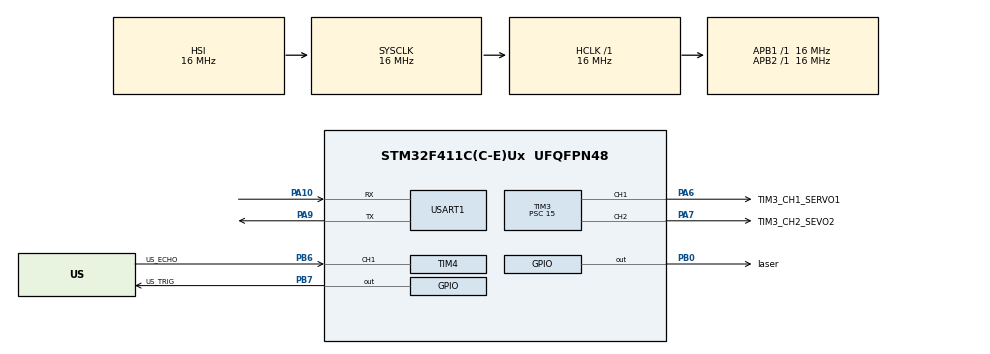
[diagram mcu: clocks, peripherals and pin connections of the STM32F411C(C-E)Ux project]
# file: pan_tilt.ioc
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Mcu.Family=STM32F4
Mcu.Name=STM32F411C(C-E)Ux
Mcu.Package=UFQFPN48
NVIC.PriorityGroup=NVIC_PRIORITYGROUP_4
NVIC.TIM4_IRQn=true\:0\:0\:false\:false\:true\:true\:true\:true
NVIC.USART1_IRQn=true\:0\:0\:false\:false\:true\:true\:true\:true
PA10.Mode=Asynchronous
PA10.Signal=USART1_RX
PA6.GPIO_Label=TIM3_CH1_SERVO1
PA6.Signal=S_TIM3_CH1
PA7.GPIO_Label=TIM3_CH2_SEVO2
PA7.Signal=S_TIM3_CH2
PA9.Mode=Asynchronous
PA9.Signal=USART1_TX
PB0.GPIO_Label=laser
PB0.Signal=GPIO_Output
PB6.GPIO_Label=US_ECHO
PB6.Signal=S_TIM4_CH1
PB7.GPIO_Label=US_TRIG
PB7.Signal=GPIO_Output
ProjectManager.HeapSize=0x200
ProjectManager.StackSize=0x400
ProjectManager.TargetToolchain=Makefile
RCC.48MHZClocksFreq_Value=48000000
RCC.AHBFreq_Value=16000000
RCC.APB1Freq_Value=16000000
RCC.APB1TimFreq_Value=16000000
RCC.APB2Freq_Value=16000000
RCC.APB2TimFreq_Value=16000000
RCC.CortexFreq_Value=16000000
RCC.HCLKFreq_Value=16000000
RCC.HSE_VALUE=25000000
RCC.HSI_VALUE=16000000
RCC.LSE_VALUE=32768
RCC.SYSCLKFreq_VALUE=16000000
RCC.VCOOutputFreq_Value=192000000
SH.S_TIM3_CH1.0=TIM3_CH1,PWM Generation1 CH1
SH.S_TIM3_CH2.0=TIM3_CH2,PWM Generation2 CH2
SH.S_TIM4_CH1.0=TIM4_CH1,Input_Capture1_from_TI1
TIM3.AutoReloadPreload=TIM_AUTORELOAD_PRELOAD_ENABLE
TIM3.Channel-PWM\ Generation1\ CH1=TIM_CHANNEL_1
TIM3.Channel-PWM\ Generation2\ CH2=TIM_CHANNEL_2
TIM3.Period=19999
TIM3.Prescaler=15
TIM3.Pulse-PWM\ Generation1\ CH1=1500
TIM3.Pulse-PWM\ Generation2\ CH2=1500
TIM4.AutoReloadPreload=TIM_AUTORELOAD_PRELOAD_ENABLE
TIM4.Channel-Input_Capture1_from_TI1=TIM_CHANNEL_1
TIM4.Prescaler=15
USART1.VirtualMode=VM_ASYNC
VP_TIM3_VS_ClockSourceINT.Mode=Internal
VP_TIM4_VS_ClockSourceINT.Mode=Internal
board=custom

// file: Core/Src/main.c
/* USER CODE BEGIN Header */
/**
  ******************************************************************************
  * @file           : main.c
  * @brief          : Main program body
  ******************************************************************************
  * @attention
  *
  * Copyright (c) 2026 STMicroelectronics.
  * All rights reserved.
  *
  * This software is licensed under terms that can be found in the LICENSE file
  * in the root directory of this software component.
  * If no LICENSE file comes with this software, it is provided AS-IS.
  *
  ******************************************************************************
  */
/* USER CODE END Header */
#include "main.h"

/* USER CODE BEGIN Includes */
#include <string.h>   /* strcmp() for command matching */
#include "ultrasonic.h"
#include "comms.h"
#include <stdio.h>   /* snprintf for telemetry formatting */
#include "laser.h"
/* USER CODE END Includes */

TIM_HandleTypeDef htim3;
TIM_HandleTypeDef htim4;

UART_HandleTypeDef huart1;

/* USER CODE BEGIN PV */

/* Tick value captured at boot -- left over from the blink experiment, not
   used by anything now. Safe to delete, or keep it for an uptime reading. */
static uint32_t start_time = 0;

/* Landing zone for the UART receiver. The HAL writes the incoming byte here
   from inside the interrupt, so main() must only read it while `received`
   says a complete byte is sitting there. */
uint8_t rx[1];

/* Longest command we will accept, including the terminating '\0'.
   Anything longer is discarded rather than allowed to run off the end of the
   buffer -- an unterminated line is the classic way these parsers corrupt
   memory. */
#define CMD_MAX 64

/* The line being assembled, byte by byte, by the RX interrupt. Once a
   terminator arrives this holds a complete, NUL-terminated command string. */
volatile char cmd_line[CMD_MAX];

/* Write position within cmd_line. Only ever touched by the ISR. */
static uint8_t cmd_idx = 0;

/* Raised by the ISR when cmd_line holds a complete command; cleared by the
   main loop once it has finished reading it. While this is set the ISR
   DISCARDS incoming bytes -- that is what stops the interrupt overwriting a
   line the main loop is still working on.
   `volatile` is REQUIRED: without it the optimiser sees main() only reading
   this and never writing it, decides it cannot change, and hoists the read
   out of the while(1). Works at -Og, hangs at -O2. */
volatile uint8_t cmd_ready = 0;

/* USER CODE END PV */

void SystemClock_Config(void);
static void MX_GPIO_Init(void);
static void MX_TIM3_Init(void);
static void MX_TIM4_Init(void);
static void MX_USART1_UART_Init(void);

int main(void)
{

  /* USER CODE BEGIN 1 */
  start_time = HAL_GetTick();
  /* USER CODE END 1 */

  /* MCU Configuration--------------------------------------------------------*/

  /* Reset of all peripherals, Initializes the Flash interface and the Systick. */
  HAL_Init();

  /* Configure the system clock */
  SystemClock_Config();

  /* Initialize all configured peripherals */
  MX_GPIO_Init();
  MX_TIM3_Init();
  MX_TIM4_Init();
  MX_USART1_UART_Init();
  /* USER CODE BEGIN 2 */

  /* Arm the receiver for exactly 1 byte. This is a ONE-SHOT: once that byte
     lands the HAL disarms itself, so the callback below has to re-arm it
     every single time or you receive one byte and then silence forever.
     Note `rx`, not `&rx` -- an array name already decays to a pointer. */
  HAL_UART_Receive_IT(&huart1, rx, 1);

  /* Starts TIM4 counting and enables the ECHO capture interrupt. */
  comms_init();
  ultrasonic_init();

  comms_puts("BOOT:pan_tilt\r\n");

  /* USER CODE END 2 */

  /* Infinite loop */
  while (1)
  {
    /* USER CODE BEGIN 3 */

    if (cmd_ready)
    {
      /* NOTE the ordering change from the single-byte version: here we clear
         the flag LAST, not first. The ISR drops incoming bytes for as long as
         cmd_ready is set, so cmd_line is frozen while we work on it. Clearing
         early would re-open the buffer to the ISR mid-comparison. */

      if (strcmp((const char *)cmd_line, "LASER:ON") == 0)
      {
        laser_on();
        comms_puts("OK\r\n");
      }
      else if (strcmp((const char *)cmd_line, "LASER:OFF") == 0)
      {
        laser_off();
        comms_puts("OK\r\n");
      }
      else
      {
        /* Always answer something. A Pi waiting on a reply must never be
           left guessing whether the command was lost or merely rejected. */
        comms_puts("ERR:BADCMD\r\n");
      }

      cmd_ready = 0;   /* release the buffer back to the ISR */
    }

    /* Paces the 10 Hz triggering and enforces the echo timeout. Returns
       immediately on every pass where there is nothing to do. */
    ultrasonic_task();

    /* Publish each NEW range reading. take_reading() self-clears, so this
       sends one line per measurement rather than spamming the same value
       every pass through the loop. */
    if (ultrasonic_take_reading())
    {
      char line[24];
      snprintf(line, sizeof line, "RANGE:%u\r\n",
               (unsigned)ultrasonic_get_cm());
      comms_puts(line);
    }

    /* No else, no delay, nothing that waits. The loop falls straight through
       and runs again immediately, so the CPU is always free to respond. */
  }
  /* USER CODE END 3 */
}

void SystemClock_Config(void)
{
  RCC_OscInitTypeDef RCC_OscInitStruct = {0};
  RCC_ClkInitTypeDef RCC_ClkInitStruct = {0};

  /** Configure the main internal regulator output voltage
  */
  __HAL_RCC_PWR_CLK_ENABLE();
  __HAL_PWR_VOLTAGESCALING_CONFIG(PWR_REGULATOR_VOLTAGE_SCALE1);

  /** Initializes the RCC Oscillators according to the specified parameters
  * in the RCC_OscInitTypeDef structure.
  */
  RCC_OscInitStruct.OscillatorType = RCC_OSCILLATORTYPE_HSI;
  RCC_OscInitStruct.HSIState = RCC_HSI_ON;
  RCC_OscInitStruct.HSICalibrationValue = RCC_HSICALIBRATION_DEFAULT;
  RCC_OscInitStruct.PLL.PLLState = RCC_PLL_NONE;
  if (HAL_RCC_OscConfig(&RCC_OscInitStruct) != HAL_OK)
  {
    Error_Handler();
  }

  /** Initializes the CPU, AHB and APB buses clocks
  */
  RCC_ClkInitStruct.ClockType = RCC_CLOCKTYPE_HCLK|RCC_CLOCKTYPE_SYSCLK
                              |RCC_CLOCKTYPE_PCLK1|RCC_CLOCKTYPE_PCLK2;
  RCC_ClkInitStruct.SYSCLKSource = RCC_SYSCLKSOURCE_HSI;
  RCC_ClkInitStruct.AHBCLKDivider = RCC_SYSCLK_DIV1;
  RCC_ClkInitStruct.APB1CLKDivider = RCC_HCLK_DIV1;
  RCC_ClkInitStruct.APB2CLKDivider = RCC_HCLK_DIV1;

  if (HAL_RCC_ClockConfig(&RCC_ClkInitStruct, FLASH_LATENCY_0) != HAL_OK)
  {
    Error_Handler();
  }
}

static void MX_TIM3_Init(void)
{

  TIM_ClockConfigTypeDef sClockSourceConfig = {0};
  TIM_MasterConfigTypeDef sMasterConfig = {0};
  TIM_OC_InitTypeDef sConfigOC = {0};

  htim3.Instance = TIM3;
  htim3.Init.Prescaler = 15;
  htim3.Init.CounterMode = TIM_COUNTERMODE_UP;
  htim3.Init.Period = 19999;
  htim3.Init.ClockDivision = TIM_CLOCKDIVISION_DIV1;
  htim3.Init.AutoReloadPreload = TIM_AUTORELOAD_PRELOAD_ENABLE;
  if (HAL_TIM_Base_Init(&htim3) != HAL_OK)
  {
    Error_Handler();
  }
  sClockSourceConfig.ClockSource = TIM_CLOCKSOURCE_INTERNAL;
  if (HAL_TIM_ConfigClockSource(&htim3, &sClockSourceConfig) != HAL_OK)
  {
    Error_Handler();
  }
  if (HAL_TIM_PWM_Init(&htim3) != HAL_OK)
  {
    Error_Handler();
  }
  sMasterConfig.MasterOutputTrigger = TIM_TRGO_RESET;
  sMasterConfig.MasterSlaveMode = TIM_MASTERSLAVEMODE_DISABLE;
  if (HAL_TIMEx_MasterConfigSynchronization(&htim3, &sMasterConfig) != HAL_OK)
  {
    Error_Handler();
  }
  sConfigOC.OCMode = TIM_OCMODE_PWM1;
  sConfigOC.Pulse = 1500;
  sConfigOC.OCPolarity = TIM_OCPOLARITY_HIGH;
  sConfigOC.OCFastMode = TIM_OCFAST_DISABLE;
  if (HAL_TIM_PWM_ConfigChannel(&htim3, &sConfigOC, TIM_CHANNEL_1) != HAL_OK)
  {
    Error_Handler();
  }
  if (HAL_TIM_PWM_ConfigChannel(&htim3, &sConfigOC, TIM_CHANNEL_2) != HAL_OK)
  {
    Error_Handler();
  }
  HAL_TIM_MspPostInit(&htim3);

}

static void MX_TIM4_Init(void)
{

  TIM_ClockConfigTypeDef sClockSourceConfig = {0};
  TIM_MasterConfigTypeDef sMasterConfig = {0};
  TIM_IC_InitTypeDef sConfigIC = {0};

  htim4.Instance = TIM4;
  htim4.Init.Prescaler = 15;
  htim4.Init.CounterMode = TIM_COUNTERMODE_UP;
  htim4.Init.Period = 65535;
  htim4.Init.ClockDivision = TIM_CLOCKDIVISION_DIV1;
  htim4.Init.AutoReloadPreload = TIM_AUTORELOAD_PRELOAD_ENABLE;
  if (HAL_TIM_Base_Init(&htim4) != HAL_OK)
  {
    Error_Handler();
  }
  sClockSourceConfig.ClockSource = TIM_CLOCKSOURCE_INTERNAL;
  if (HAL_TIM_ConfigClockSource(&htim4, &sClockSourceConfig) != HAL_OK)
  {
    Error_Handler();
  }
  if (HAL_TIM_IC_Init(&htim4) != HAL_OK)
  {
    Error_Handler();
  }
  sMasterConfig.MasterOutputTrigger = TIM_TRGO_RESET;
  sMasterConfig.MasterSlaveMode = TIM_MASTERSLAVEMODE_DISABLE;
  if (HAL_TIMEx_MasterConfigSynchronization(&htim4, &sMasterConfig) != HAL_OK)
  {
    Error_Handler();
  }
  sConfigIC.ICPolarity = TIM_INPUTCHANNELPOLARITY_RISING;
  sConfigIC.ICSelection = TIM_ICSELECTION_DIRECTTI;
  sConfigIC.ICPrescaler = TIM_ICPSC_DIV1;
  sConfigIC.ICFilter = 0;
  if (HAL_TIM_IC_ConfigChannel(&htim4, &sConfigIC, TIM_CHANNEL_1) != HAL_OK)
  {
    Error_Handler();
  }

}

static void MX_USART1_UART_Init(void)
{

  huart1.Instance = USART1;
  huart1.Init.BaudRate = 115200;
  huart1.Init.WordLength = UART_WORDLENGTH_8B;
  huart1.Init.StopBits = UART_STOPBITS_1;
  huart1.Init.Parity = UART_PARITY_NONE;
  huart1.Init.Mode = UART_MODE_TX_RX;
  huart1.Init.HwFlowCtl = UART_HWCONTROL_NONE;
  huart1.Init.OverSampling = UART_OVERSAMPLING_16;
  if (HAL_UART_Init(&huart1) != HAL_OK)
  {
    Error_Handler();
  }

}

static void MX_GPIO_Init(void)
{
  GPIO_InitTypeDef GPIO_InitStruct = {0};

  /* GPIO Ports Clock Enable */
  __HAL_RCC_GPIOA_CLK_ENABLE();
  __HAL_RCC_GPIOB_CLK_ENABLE();

  /*Configure GPIO pin Output Level */
  HAL_GPIO_WritePin(GPIOB, laser_Pin|US_TRIG_Pin, GPIO_PIN_RESET);

  /*Configure GPIO pins : laser_Pin US_TRIG_Pin */
  GPIO_InitStruct.Pin = laser_Pin|US_TRIG_Pin;
  GPIO_InitStruct.Mode = GPIO_MODE_OUTPUT_PP;
  GPIO_InitStruct.Pull = GPIO_NOPULL;
  GPIO_InitStruct.Speed = GPIO_SPEED_FREQ_LOW;
  HAL_GPIO_Init(GPIOB, &GPIO_InitStruct);

}

/* USER CODE BEGIN 4 */

/**
  * @brief  Called when the UART has received the number of bytes we asked for.
  *
  * The HAL declares this __weak with an empty body; defining a function with
  * the identical signature here silently replaces it. There is nothing to
  * register -- that is how every HAL callback works.
  *
  * Call chain: USART1 hardware IRQ -> USART1_IRQHandler() in stm32f4xx_it.c
  *             -> HAL_UART_IRQHandler() -> this function.
  *
  * Keep it short. This runs in interrupt context, so no delays, no printf,
  * no parsing. Capture what arrived, tell the main loop, get out.
  */
void HAL_UART_RxCpltCallback(UART_HandleTypeDef *huart)
{
  if (huart->Instance == USART1)
  {
    char c = (char)rx[0];

    if (cmd_ready)
    {
      /* Main loop has not consumed the previous command yet. Drop this byte
         rather than corrupt the buffer it is reading. */
    }
    else if (c == '\n' || c == '\r')
    {
      /* Terminator. Accept BOTH: `screen` sends \r on Enter, most Linux
         tooling sends \n, and a Pi sending \r\n would otherwise deliver a
         phantom empty command on the second character. */
      if (cmd_idx > 0)
      {
        cmd_line[cmd_idx] = '\0';   /* make it a real C string */
        cmd_ready = 1;              /* hand it to the main loop */
        cmd_idx = 0;
      }
      /* cmd_idx == 0 means an empty line -- ignore it */
    }
    else if (cmd_idx < CMD_MAX - 1)
    {
      cmd_line[cmd_idx++] = c;      /* room left: keep the byte */
    }
    else
    {
      /* Overflow: no terminator arrived within CMD_MAX bytes. Throw the whole
         line away instead of writing past the end of the buffer. */
      cmd_idx = 0;
    }

    HAL_UART_Receive_IT(&huart1, rx, 1); /* re-arm -- still one-shot */
  }
}

/* USER CODE END 4 */

void Error_Handler(void)
{
  __disable_irq();
  while (1)
  {
  }
}
